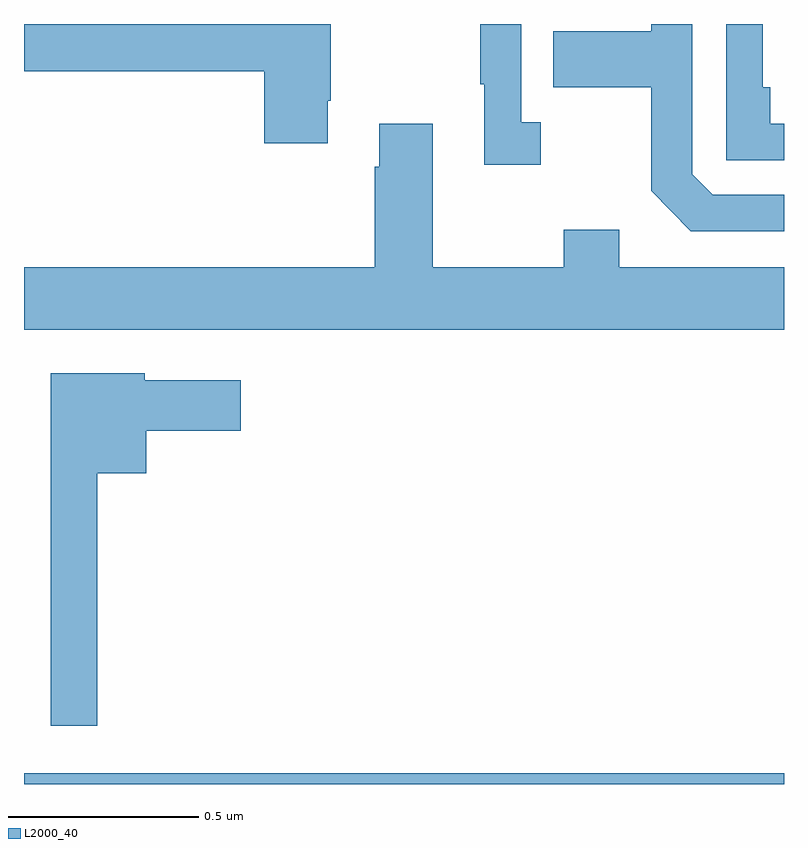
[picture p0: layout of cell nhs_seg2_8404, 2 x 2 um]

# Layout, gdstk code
import gdstk
lib = gdstk.Library(unit=1e-6, precision=1e-09)
def R(c, l, rs):  # rectangles x0, y0, x1, y1
    for r in rs: c.add(gdstk.rectangle(r[:2], r[2:], *l))
def P(c, l, *ps):  # polygons
    for p in ps: c.add(gdstk.Polygon(p, *l))
L2000_40 = (2000, 40)

nhs_seg2_8404 = lib.new_cell('nhs_seg2_8404')
R(nhs_seg2_8404, L2000_40, [(216,619.8,218,619.828)])
P(nhs_seg2_8404, L2000_40, [(218,621.351),(217.812,621.351),(217.758,621.405),(217.758,621.8),(217.65,621.8),(217.65,621.781),(217.393,621.781),(217.393,621.634),(217.65,621.634),(217.65,621.361),(217.755,621.255),(218,621.255)],
  [(217.36,621.542),(217.308,621.542),(217.308,621.8),(217.2,621.8),(217.2,621.641),(217.211,621.641),(217.211,621.429),(217.36,621.429)],
  [(216.799,621.598),(216.807,621.598),(216.807,621.8),(216,621.8),(216,621.676),(216.632,621.676),(216.632,621.486),(216.799,621.486)],
  [(218,621.537),(217.964,621.537),(217.964,621.634),(217.944,621.634),(217.944,621.8),(217.848,621.8),(217.848,621.441),(218,621.441)],
  [(218,621.16),(217.567,621.16),(217.567,621.259),(217.42,621.259),(217.42,621.16),(217.075,621.16),(217.075,621.538),(216.935,621.538),(216.935,621.425),(216.923,621.425),(216.923,621.16),(216,621.16),(216,620.996),(218,620.996)],
  [(216.193,620.618),(216.322,620.618),(216.322,620.729),(216.571,620.729),(216.571,620.863),(216.318,620.863),(216.318,620.881),(216.071,620.881),(216.071,619.953),(216.193,619.953)])

lib.write_gds('nhs_seg2_8404.gds')
